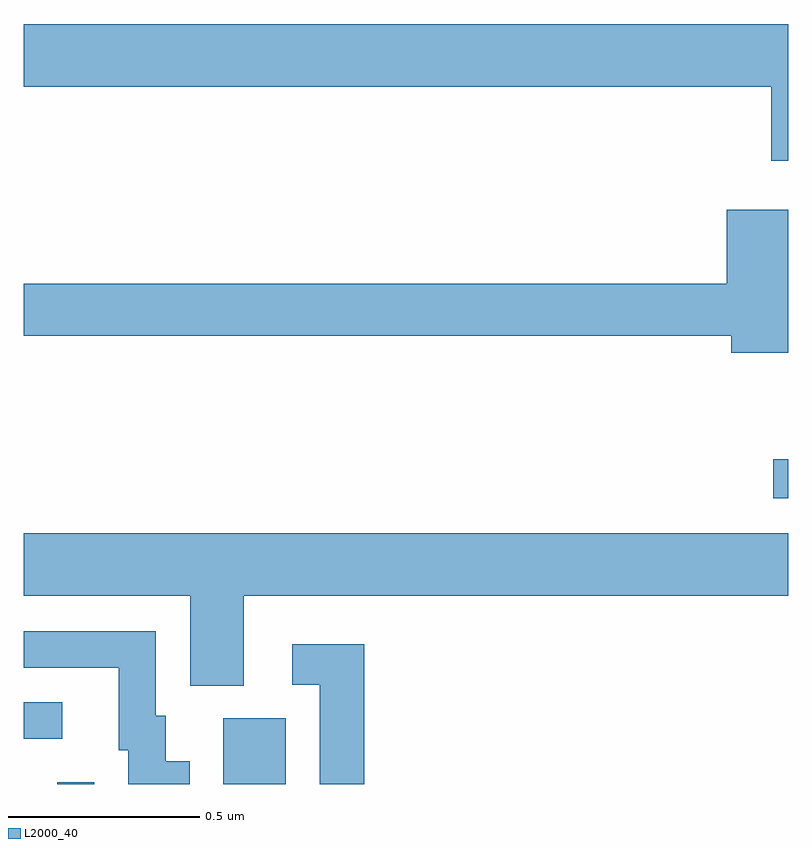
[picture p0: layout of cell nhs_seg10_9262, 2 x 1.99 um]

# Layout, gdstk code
import gdstk
lib = gdstk.Library(unit=1e-6, precision=1e-09)
def R(c, l, rs):  # rectangles x0, y0, x1, y1
    for r in rs: c.add(gdstk.rectangle(r[:2], r[2:], *l))
def P(c, l, *ps):  # polygons
    for p in ps: c.add(gdstk.Polygon(p, *l))
L2000_40 = (2000, 40)

nhs_seg10_9262 = lib.new_cell('nhs_seg10_9262')
R(nhs_seg10_9262, L2000_40, [(227.088,1290.5,227.184,1290.505), (227.522,1290.5,227.686,1290.672), (227,1290.618,227.101,1290.714), (228.96,1291.248,229,1291.349)])
P(nhs_seg10_9262, L2000_40, [(229,1292.488),(227,1292.488),(227,1292.324),(228.956,1292.324),(228.956,1292.13),(229,1292.13)],
  [(229,1292.002),(228.839,1292.002),(228.839,1291.808),(227,1291.808),(227,1291.672),(228.851,1291.672),(228.851,1291.628),(229,1291.628)],
  [(227.575,1290.992),(229,1290.992),(229,1291.156),(227,1291.156),(227,1290.992),(227.435,1290.992),(227.435,1290.757),(227.575,1290.757)],
  [(227.434,1290.559),(227.371,1290.559),(227.371,1290.678),(227.346,1290.678),(227.346,1290.9),(227,1290.9),(227,1290.804),(227.249,1290.804),(227.249,1290.588),(227.273,1290.588),(227.273,1290.5),(227.434,1290.5)],
  [(227.891,1290.865),(227.703,1290.865),(227.703,1290.759),(227.775,1290.759),(227.775,1290.5),(227.891,1290.5)])

lib.write_gds('nhs_seg10_9262.gds')
